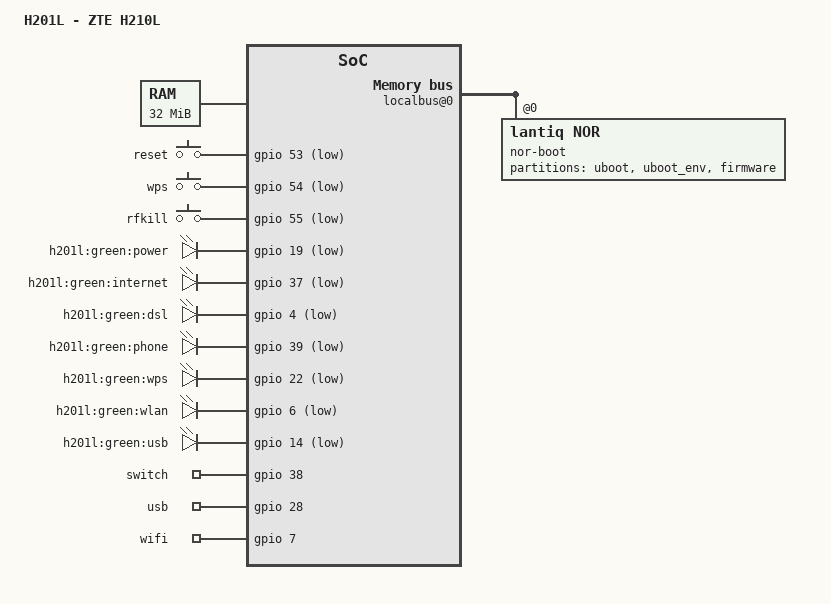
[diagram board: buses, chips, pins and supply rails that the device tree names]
/dts-v1/;

#include "ar9.dtsi"

#include <dt-bindings/input/input.h>

/ {
	model = "H201L - ZTE H210L";

	chosen {
		bootargs = "console=ttyLTQ0,115200";
	};

	aliases {
		led-boot = &power_green;
		led-failsafe = &power_green;
		led-running = &power_green;

		led-dsl = &dsl;
		led-internet = &online;
		led-usb = &usb;
		led-wifi = &wifi;
	};

	memory@0 {
		reg = <0x0 0x2000000>;
	};

	fpi@10000000 {
		localbus@0 {
			nor-boot@0 {
				compatible = "lantiq,nor";
				bank-width = <2>;
				reg = <0 0x0 0x2000000>;
				#address-cells = <1>;
				#size-cells = <1>;

				partitions {
					compatible = "fixed-partitions";
					#address-cells = <1>;
					#size-cells = <1>;

					partition@0 {
						label = "uboot";
						reg = <0x00000 0x20000>;
						read-only;
					};

					partition@20000 {
						label = "uboot_env";
						reg = <0x20000 0x10000>;
						read-only;
					};

					partition@30000 {
						label = "firmware";
						reg = <0x30000 0x7d0000>;
					};
				};
			};
		};

		gpio: pinmux@E100B10 {
			pinctrl-names = "default";
			pinctrl-0 = <&state_default>;

			state_default: pinmux {
			};
		};

		etop@E180000 {
			phy-mode = "rgmii";
		};

		ifxhcd@E101000 {
			status = "okay";
			gpios = <&gpio 36 GPIO_ACTIVE_HIGH>;
		};
	};

	gpio-keys-polled {
		compatible = "gpio-keys-polled";
		#address-cells = <1>;
		#size-cells = <0>;
		poll-interval = <100>;

		reset {
			label = "reset";
			gpios = <&gpio 53 GPIO_ACTIVE_LOW>;
			linux,code = <KEY_RESTART>;
		};
		wps {
			label = "wps";
			gpios = <&gpio 54 GPIO_ACTIVE_LOW>;
			linux,code = <KEY_WPS_BUTTON>;
		};
		rfkill {
			label = "rfkill";
			gpios = <&gpio 55 GPIO_ACTIVE_LOW>;
			linux,code = <KEY_RFKILL>;
		};
	};

	gpio-leds {
		compatible = "gpio-leds";

		power_green: power {
			label = "h201l:green:power";
			gpios = <&gpio 19 GPIO_ACTIVE_LOW>;
			default-state = "keep";
		};
		online: online {
			label = "h201l:green:internet";
			gpios = <&gpio 37 GPIO_ACTIVE_LOW>;
		};
		dsl: dsl {
			label = "h201l:green:dsl";
			gpios = <&gpio 4 GPIO_ACTIVE_LOW>;
		};
		phone {
			label = "h201l:green:phone";
			gpios = <&gpio 39 GPIO_ACTIVE_LOW>;
		};
		wps {
			label = "h201l:green:wps";
			gpios = <&gpio 22 GPIO_ACTIVE_LOW>;
		};
		wifi: wifi {
			label = "h201l:green:wlan";
			gpios = <&gpio 6 GPIO_ACTIVE_LOW>;
		};
		usb: usb {
			label = "h201l:green:usb";
			gpios = <&gpio 14 GPIO_ACTIVE_LOW>;
		};
	};

	gpio_export {
		compatible = "gpio-export";
		#size-cells = <0>;

		switch {
			gpio-export,name = "switch";
			gpio-export,output = <1>;
			gpios = <&gpio 38 GPIO_ACTIVE_HIGH>;
		};
		usb {
			gpio-export,name = "usb";
			gpio-export,output = <1>;
			gpios = <&gpio 28 GPIO_ACTIVE_HIGH>;
		};
		wifi {
			gpio-export,name = "wifi";
			gpio-export,output = <1>;
			gpios = <&gpio 7 GPIO_ACTIVE_HIGH>;
		};
	};
};
